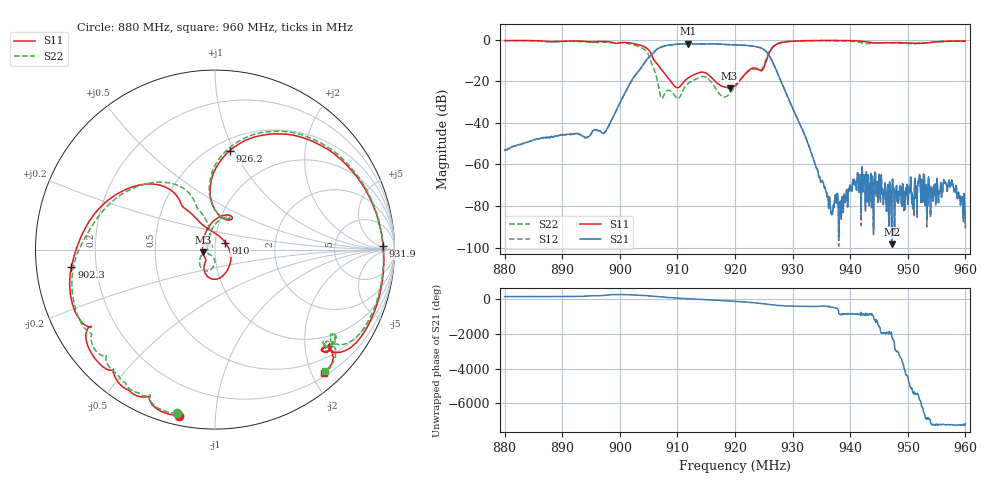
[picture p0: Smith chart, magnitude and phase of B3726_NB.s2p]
! Matrix data file written by TouchstoneData, EPCOS AG
! FILENAME: "B3726_NB.s2p"
! COMMENT: "PCB:2022 PIN:2/5 PORTEXT1:87.4 PORTEXT2:173."
! INFO: nport=2, nfreq=1601
! DATE: "Tue Dec 30 11:03:29 2008"
! USER: "Sergey Rostovtsev"
! port | pin | signal
!  1  |  2  |  in
!  2  |  5  |  out
# MHZ S MA R 50
! freq  magS11 angS11  magS21 angS21  magS12 angS12  magS22 angS22
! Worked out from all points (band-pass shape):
!   1601 points, 880 MHz to 960 MHz, reference 50 ohm
!   highest |S21| = -1.95 dB at 911.8 MHz (marker M1); lowest = -98.3 dB at 947.2 MHz (marker M2)
!   |S21| within 3 dB of the highest: 906.3 MHz to 925.1 MHz (18.8 MHz wide, 2.05 % of centre)
!   lowest |S11| = -23.3 dB at 919 MHz (marker M3), VSWR 1.15, Z = 43.8 - j1.34 ohm
!   |S11| at or under -10 dB: 906 MHz to 925.4 MHz (19.44 MHz wide, 2.12 % of centre)
!   |S22| runs from -28.4 to -0.5 dB; largest |S21 - S12| = 0.0034
!   S11 on the Smith chart (normalised r, x): 880 MHz: 0.04, -0.80; 902.3 MHz: 0.11, -0.06; 910 MHz: 1.12, +0.09; 926.2 MHz: 0.60, +0.96; 931.9 MHz: 28, +9; 960 MHz: 0.25, -2.19
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880  0.9499 -102.4  0.002188 143.4  0.002174 143.5  0.9364 -103.2
893.35  0.9186 -124.9  0.004934 153.0  0.004912 153.0  0.8879 -126.8
897.5  0.8995 -139.7  0.006088 -137.5  0.006029 -137.6  0.8685 -141.4
902.3  0.8059 -173.0  0.1177 -123.8  0.1167 -123.5  0.7529 179.1
904.75  0.608 147.4  0.3392 -169.7  0.3373 -169.4  0.493 130.4
906.7  0.2392 123.2  0.6164 138.0  0.6149 138.2  0.07828 107.7
910.05  0.06938 33.1  0.7798 55.1  0.779 55.3  0.03815 -128.8
911.8  0.1175 -45.3  0.799 19.6  0.7979 19.7  0.08682 -93.4
916.1  0.1155 -122.0  0.7946 -57.7  0.793 -57.6  0.0873 -154.6
919.05  0.06816 -167.1  0.7525 -112.3  0.7512 -112.1  0.04994 150.5
920  0.07727 151.9  0.7475 -131.2  0.7463 -131.0  0.0741 120.4
922.3  0.1778 85.1  0.7185 175.4  0.7176 175.6  0.1708 79.8
924.25  0.1849 63.4  0.6485 116.2  0.6475 116.5  0.1835 69.8
926.2  0.5559 81.6  0.3575 33.0  0.3577 33.5  0.5826 81.0
931.9  0.9376 1.2  0.005863 -62.4  0.005878 -62.5  0.9373 1.6
933.35  0.9458 -7.2  0.001732 -68.4  0.001743 -68.4  0.9422 -6.8
936.85  0.9522 -22.0  6.62e-05 -110.3  6.213e-05 -108.7  0.9447 -22.0
941.7  0.9224 -37.3  0.0005603 -153.4  0.0005615 -151.0  0.8532 -38.1
946.7  0.8381 -40.2  3.274e-05 154.4  3.854e-05 153.9  0.8357 -39.2
947.2  0.8456 -40.8  1.211e-05 93.2  2.411e-05 163.2  0.8385 -39.7
957.45  0.9126 -45.4  0.0002998 -37.9  0.0002996 -38.2  0.9106 -44.6
960  0.9188 -48.7  3.178e-05 15.5  2.841e-05 2.7  0.912 -47.6
